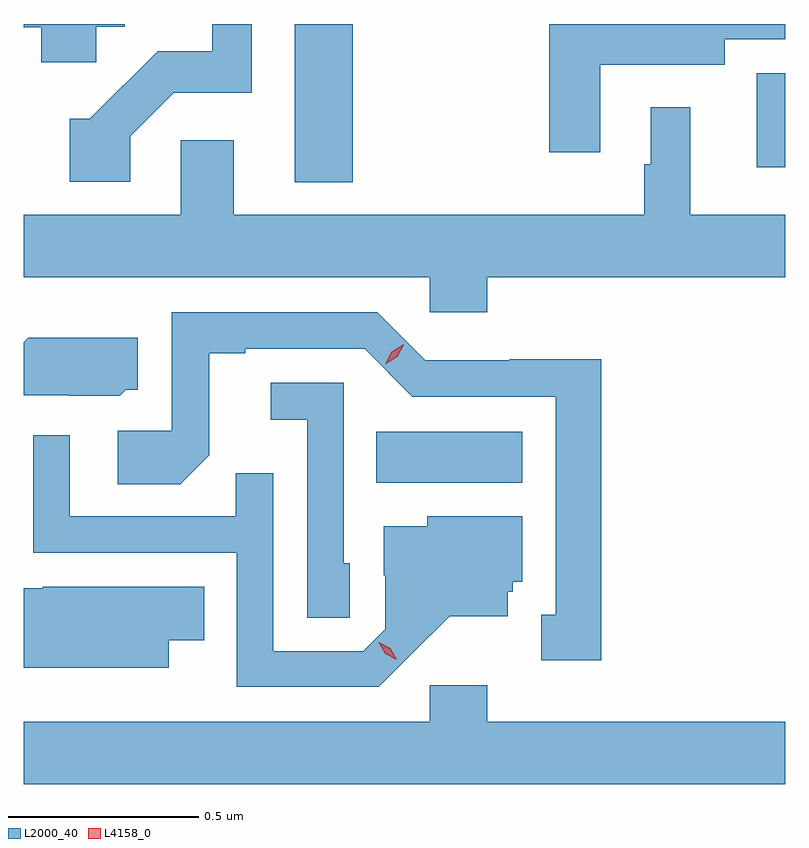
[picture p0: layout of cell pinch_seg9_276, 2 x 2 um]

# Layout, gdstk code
import gdstk
lib = gdstk.Library(unit=1e-6, precision=1e-09)
def R(c, l, rs):  # rectangles x0, y0, x1, y1
    for r in rs: c.add(gdstk.rectangle(r[:2], r[2:], *l))
def P(c, l, *ps):  # polygons
    for p in ps: c.add(gdstk.Polygon(p, *l))
L2000_40 = (2000, 40)
L4158_0 = (4158, 0)

pinch_seg9_276 = lib.new_cell('pinch_seg9_276')
R(pinch_seg9_276, L2000_40, [(503.89,1237.172,504.274,1237.306), (503.675,1237.961,503.828,1238.377), (504.89,1238.001,504.964,1238.247)])
P(pinch_seg9_276, L2000_40, [(503.244,1238.082),(503.358,1238.196),(503.563,1238.196),(503.563,1238.377),(503.459,1238.377),(503.459,1238.306),(503.315,1238.306),(503.137,1238.128),(503.084,1238.128),(503.084,1237.962),(503.244,1237.962)],
  [(504.478,1238.27),(504.805,1238.27),(504.805,1238.337),(504.964,1238.337),(504.964,1238.377),(504.344,1238.377),(504.344,1238.04),(504.478,1238.04)],
  [(503.154,1238.37),(503.229,1238.37),(503.229,1238.377),(502.964,1238.377),(502.964,1238.369),(503.009,1238.369),(503.009,1238.276),(503.154,1238.276)],
  [(504.182,1237.712),(504.964,1237.712),(504.964,1237.876),(504.715,1237.876),(504.715,1238.158),(504.611,1238.158),(504.611,1238.009),(504.594,1238.009),(504.594,1237.876),(503.515,1237.876),(503.515,1238.071),(503.376,1238.071),(503.376,1237.876),(502.964,1237.876),(502.964,1237.712),(504.03,1237.712),(504.03,1237.619),(504.182,1237.619)],
  [(504.481,1237.496),(504.24,1237.496),(504.24,1237.494),(504.018,1237.494),(503.892,1237.62),(503.352,1237.62),(503.352,1237.308),(503.211,1237.308),(503.211,1237.168),(503.375,1237.168),(503.451,1237.244),(503.451,1237.512),(503.545,1237.512),(503.545,1237.524),(503.859,1237.524),(503.985,1237.398),(504.362,1237.398),(504.362,1236.825),(504.323,1236.825),(504.323,1236.705),(504.481,1236.705)],
  [(503.232,1237.416),(503.263,1237.416),(503.263,1237.552),(502.975,1237.552),(502.964,1237.541),(502.964,1237.401),(503.082,1237.401),(503.082,1237.4),(503.216,1237.4)],
  [(503.82,1236.96),(503.805,1236.96),(503.805,1237.434),(503.613,1237.434),(503.613,1237.337),(503.709,1237.337),(503.709,1236.817),(503.82,1236.817)],
  [(503.98,1236.719),(504.083,1236.821),(504.235,1236.821),(504.235,1236.885),(504.249,1236.885),(504.249,1236.912),(504.274,1236.912),(504.274,1237.084),(504.024,1237.084),(504.024,1237.057),(503.909,1237.057),(503.909,1236.928),(503.913,1236.928),(503.913,1236.786),(503.856,1236.729),(503.619,1236.729),(503.619,1237.196),(503.521,1237.196),(503.521,1237.083),(503.085,1237.083),(503.085,1237.297),(502.989,1237.297),(502.989,1236.987),(503.523,1236.987),(503.523,1236.636),(503.896,1236.636)],
  [(503.344,1236.758),(503.438,1236.758),(503.438,1236.898),(503.014,1236.898),(503.014,1236.894),(502.964,1236.894),(502.964,1236.686),(503.344,1236.686)],
  [(504.964,1236.544),(504.182,1236.544),(504.182,1236.64),(504.03,1236.64),(504.03,1236.544),(502.964,1236.544),(502.964,1236.38),(504.964,1236.38)])
P(pinch_seg9_276, L4158_0, [(503.943,1236.707),(503.913,1236.722),(503.896,1236.752),(503.896,1236.752),(503.896,1236.752),(503.926,1236.737),(503.943,1236.707),(503.943,1236.707)],
  [(503.914,1237.483),(503.914,1237.483),(503.931,1237.516),(503.962,1237.535),(503.962,1237.535),(503.962,1237.534),(503.945,1237.502),(503.914,1237.483)])

lib.write_gds('pinch_seg9_276.gds')
